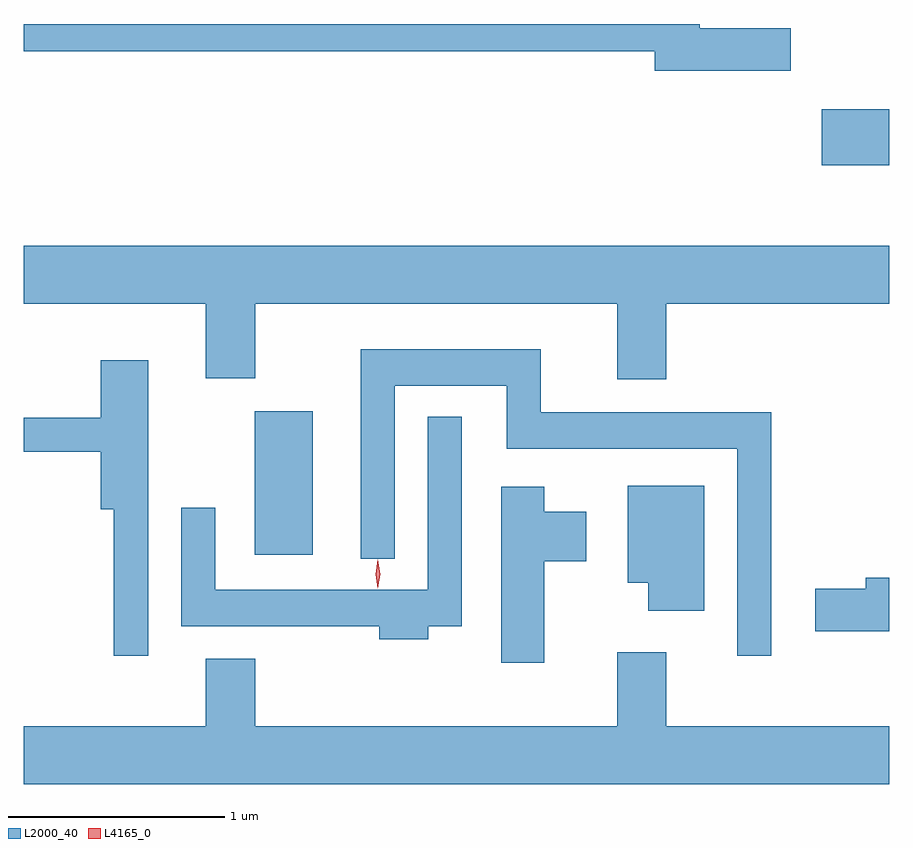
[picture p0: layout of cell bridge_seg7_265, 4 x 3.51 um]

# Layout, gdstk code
import gdstk
lib = gdstk.Library(unit=1e-6, precision=1e-09)
def R(c, l, rs):  # rectangles x0, y0, x1, y1
    for r in rs: c.add(gdstk.rectangle(r[:2], r[2:], *l))
def P(c, l, *ps):  # polygons
    for p in ps: c.add(gdstk.Polygon(p, *l))
L2000_40 = (2000, 40)
L4165_0 = (4165, 0)

bridge_seg7_265 = lib.new_cell('bridge_seg7_265')
R(bridge_seg7_265, L2000_40, [(1408.516,1788.636,1408.784,1789.299), (1411.136,1790.436,1411.449,1790.694)])
P(bridge_seg7_265, L2000_40, [(1410.994,1791.069),(1410.574,1791.069),(1410.574,1791.088),(1407.449,1791.088),(1407.449,1790.961),(1410.366,1790.961),(1410.366,1790.871),(1410.994,1790.871)],
  [(1410.419,1789.796),(1411.449,1789.796),(1411.449,1790.064),(1407.449,1790.064),(1407.449,1789.796),(1408.291,1789.796),(1408.291,1789.451),(1408.519,1789.451),(1408.519,1789.796),(1410.191,1789.796),(1410.191,1789.446),(1410.419,1789.446)],
  [(1410.904,1789.294),(1409.839,1789.294),(1409.839,1789.584),(1409.006,1789.584),(1409.006,1788.618),(1409.164,1788.618),(1409.164,1789.416),(1409.681,1789.416),(1409.681,1789.126),(1410.746,1789.126),(1410.746,1788.168),(1410.904,1788.168)],
  [(1408.024,1789.534),(1407.806,1789.534),(1407.806,1789.269),(1407.449,1789.269),(1407.449,1789.111),(1407.806,1789.111),(1407.806,1788.846),(1407.866,1788.846),(1407.866,1788.168),(1408.024,1788.168)],
  [(1409.319,1788.306),(1409.474,1788.306),(1409.474,1789.273),(1409.316,1789.273),(1409.316,1788.474),(1408.334,1788.474),(1408.334,1788.853),(1408.176,1788.853),(1408.176,1788.306),(1409.091,1788.306),(1409.091,1788.246),(1409.319,1788.246)],
  [(1410.594,1788.954),(1410.241,1788.954),(1410.241,1788.506),(1410.336,1788.506),(1410.336,1788.376),(1410.594,1788.376)],
  [(1409.854,1788.606),(1410.049,1788.606),(1410.049,1788.834),(1409.854,1788.834),(1409.854,1788.949),(1409.656,1788.949),(1409.656,1788.136),(1409.854,1788.136)],
  [(1411.449,1788.529),(1411.341,1788.529),(1411.341,1788.479),(1411.106,1788.479),(1411.106,1788.281),(1411.449,1788.281)],
  [(1411.449,1787.844),(1410.419,1787.844),(1410.419,1788.184),(1410.191,1788.184),(1410.191,1787.844),(1408.519,1787.844),(1408.519,1788.154),(1408.291,1788.154),(1408.291,1787.844),(1407.449,1787.844),(1407.449,1787.576),(1411.449,1787.576)])
P(bridge_seg7_265, L4165_0, [(1409.086,1788.48),(1409.086,1788.48),(1409.076,1788.546),(1409.085,1788.612),(1409.086,1788.613),(1409.086,1788.612),(1409.096,1788.546),(1409.086,1788.48)])

lib.write_gds('bridge_seg7_265.gds')
